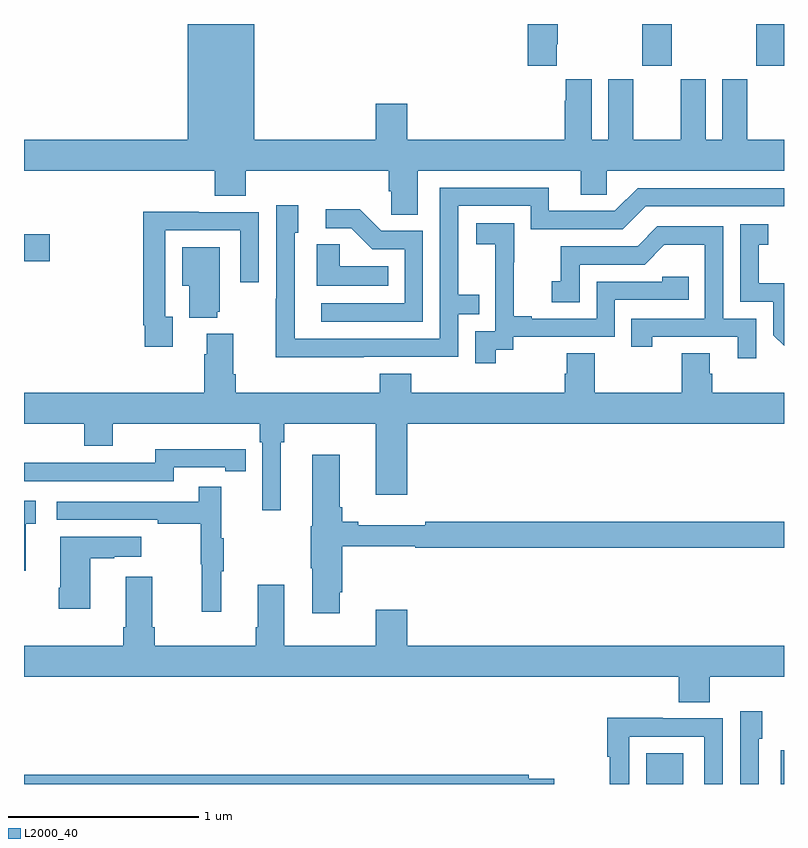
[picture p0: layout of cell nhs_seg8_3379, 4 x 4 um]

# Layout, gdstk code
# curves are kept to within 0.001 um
import gdstk
lib = gdstk.Library(unit=1e-6, precision=1e-09)
def R(c, l, rs):  # rectangles x0, y0, x1, y1
    for r in rs: c.add(gdstk.rectangle(r[:2], r[2:], *l))
def P(c, l, *ps):  # polygons
    for p in ps: c.add(gdstk.Polygon(p, *l))
L2000_40 = (2000, 40)

nhs_seg8_3379 = lib.new_cell('nhs_seg8_3379')
R(nhs_seg8_3379, L2000_40, [(322.274,1151.9,322.471,1152.061), (322.982,1151.9,323,1152.077), (319,1154.651,319.135,1154.793), (322.255,1155.681,322.41,1155.9), (322.855,1155.681,323,1155.9)])
P(nhs_seg8_3379, L2000_40, [(321.805,1155.793),(321.81,1155.793),(321.81,1155.9),(321.65,1155.9),(321.65,1155.681),(321.805,1155.681)],
  [(321.073,1155.128),(321.929,1155.128),(321.929,1155.001),(322.068,1155.001),(322.068,1155.128),(323,1155.128),(323,1155.292),(322.807,1155.292),(322.807,1155.61),(322.676,1155.61),(322.676,1155.292),(322.588,1155.292),(322.588,1155.61),(322.457,1155.61),(322.457,1155.292),(322.207,1155.292),(322.207,1155.61),(322.076,1155.61),(322.076,1155.292),(321.988,1155.292),(321.988,1155.61),(321.851,1155.61),(321.851,1155.497),(321.845,1155.497),(321.845,1155.292),(321.016,1155.292),(321.016,1155.481),(320.852,1155.481),(320.852,1155.292),(320.212,1155.292),(320.212,1155.898),(319.862,1155.898),(319.862,1155.292),(319,1155.292),(319,1155.128),(320.003,1155.128),(320.003,1154.995),(320.168,1154.995),(320.168,1155.128),(320.921,1155.128),(320.921,1155.019),(320.934,1155.019),(320.934,1154.896),(321.073,1154.896)],
  [(320.789,1154.148),(321.285,1154.148),(321.285,1154.373),(321.395,1154.373),(321.395,1154.474),(321.285,1154.474),(321.285,1154.943),(321.666,1154.943),(321.666,1154.82),(322.152,1154.82),(322.272,1154.94),(323,1154.94),(323,1155.036),(322.23,1155.036),(322.11,1154.916),(321.763,1154.916),(321.763,1155.039),(321.189,1155.039),(321.189,1154.244),(320.424,1154.244),(320.424,1154.802),(320.443,1154.802),(320.443,1154.947),(320.328,1154.947),(320.328,1154.453),(320.326,1154.453),(320.326,1154.147)],
  [(321.099,1154.811),(320.88,1154.811),(320.767,1154.924),(320.589,1154.924),(320.589,1154.826),(320.723,1154.826),(320.834,1154.715),(321.003,1154.715),(321.003,1154.43),(320.565,1154.43),(320.565,1154.334),(321.099,1154.334)],
  [(319.783,1154.358),(319.743,1154.358),(319.743,1154.814),(320.139,1154.814),(320.139,1154.541),(320.235,1154.541),(320.235,1154.91),(319.919,1154.91),(319.919,1154.912),(319.627,1154.912),(319.627,1154.314),(319.635,1154.314),(319.635,1154.202),(319.783,1154.202)],
  [(321.484,1154.185),(321.576,1154.185),(321.576,1154.253),(322.11,1154.253),(322.11,1154.448),(322.499,1154.448),(322.499,1154.571),(322.359,1154.571),(322.359,1154.544),(322.014,1154.544),(322.014,1154.349),(321.673,1154.349),(321.673,1154.362),(321.578,1154.362),(321.578,1154.645),(321.579,1154.645),(321.579,1154.851),(321.381,1154.851),(321.381,1154.741),(321.479,1154.741),(321.479,1154.513),(321.48,1154.513),(321.48,1154.283),(321.375,1154.283),(321.375,1154.115),(321.484,1154.115)],
  [(323,1154.535),(322.867,1154.535),(322.867,1154.739),(322.916,1154.739),(322.916,1154.845),(322.77,1154.845),(322.77,1154.439),(322.944,1154.439),(322.944,1154.262),(323,1154.207)],
  [(322.854,1154.349),(322.68,1154.349),(322.68,1154.835),(322.334,1154.835),(322.229,1154.73),(321.826,1154.73),(321.826,1154.545),(321.777,1154.545),(321.777,1154.436),(321.924,1154.436),(321.924,1154.634),(322.266,1154.634),(322.37,1154.738),(322.584,1154.738),(322.584,1154.349),(322.195,1154.349),(322.195,1154.202),(322.306,1154.202),(322.306,1154.253),(322.757,1154.253),(322.757,1154.142),(322.854,1154.142)],
  [(320.918,1154.626),(320.661,1154.626),(320.661,1154.741),(320.54,1154.741),(320.54,1154.522),(320.918,1154.522)],
  [(320.018,1154.385),(320.029,1154.385),(320.029,1154.725),(319.832,1154.725),(319.832,1154.522),(319.871,1154.522),(319.871,1154.354),(320.018,1154.354)],
  [(320.35,1153.7),(320.369,1153.7),(320.369,1153.796),(320.852,1153.796),(320.852,1153.422),(321.016,1153.422),(321.016,1153.796),(323,1153.796),(323,1153.96),(322.622,1153.96),(322.622,1154.058),(322.609,1154.058),(322.609,1154.168),(322.462,1154.168),(322.462,1153.96),(322.005,1153.96),(322.005,1154.168),(321.857,1154.168),(321.857,1154.058),(321.845,1154.058),(321.845,1153.96),(321.038,1153.96),(321.038,1154.059),(320.873,1154.059),(320.873,1153.96),(320.114,1153.96),(320.114,1154.056),(320.101,1154.056),(320.101,1154.269),(319.961,1154.269),(319.961,1154.162),(319.949,1154.162),(319.949,1153.96),(319,1153.96),(319,1153.796),(319.316,1153.796),(319.316,1153.679),(319.468,1153.679),(319.468,1153.796),(320.24,1153.796),(320.24,1153.7),(320.253,1153.7),(320.253,1153.341),(320.35,1153.341)],
  [(319.788,1153.566),(320.06,1153.566),(320.06,1153.546),(320.168,1153.546),(320.168,1153.662),(320.06,1153.662),(320.06,1153.663),(319.692,1153.663),(319.692,1153.59),(319.232,1153.59),(319.232,1153.592),(319,1153.592),(319,1153.494),(319.788,1153.494)],
  [(320.662,1152.91),(320.675,1152.91),(320.675,1153.152),(321.058,1153.152),(321.058,1153.144),(323,1153.144),(323,1153.28),(321.112,1153.28),(321.112,1153.261),(320.758,1153.261),(320.758,1153.28),(320.675,1153.28),(320.675,1153.357),(320.662,1153.357),(320.662,1153.633),(320.516,1153.633),(320.516,1153.257),(320.509,1153.257),(320.509,1153.036),(320.516,1153.036),(320.516,1152.798),(320.662,1152.798)],
  [(320.039,1153.019),(320.05,1153.019),(320.05,1153.193),(320.039,1153.193),(320.039,1153.465),(319.921,1153.465),(319.921,1153.386),(319.173,1153.386),(319.173,1153.29),(319.705,1153.29),(319.705,1153.27),(319.929,1153.27),(319.929,1153.056),(319.936,1153.056),(319.936,1152.807),(320.039,1152.807)],
  [(319.01,1153.269),(319.063,1153.269),(319.063,1153.39),(319,1153.39),(319,1153.023),(319.01,1153.023)],
  [(319.348,1153.087),(319.475,1153.087),(319.475,1153.097),(319.618,1153.097),(319.618,1153.201),(319.19,1153.201),(319.19,1152.934),(319.183,1152.934),(319.183,1152.822),(319.348,1152.822)],
  [(322.61,1152.464),(323,1152.464),(323,1152.628),(321.016,1152.628),(321.016,1152.817),(320.852,1152.817),(320.852,1152.628),(320.371,1152.628),(320.371,1152.949),(320.231,1152.949),(320.231,1152.724),(320.219,1152.724),(320.219,1152.628),(319.688,1152.628),(319.688,1152.724),(319.675,1152.724),(319.675,1152.991),(319.535,1152.991),(319.535,1152.724),(319.523,1152.724),(319.523,1152.628),(319,1152.628),(319,1152.464),(322.445,1152.464),(322.445,1152.331),(322.61,1152.331)],
  [(322.866,1152.138),(322.885,1152.138),(322.885,1152.283),(322.77,1152.283),(322.77,1151.9),(322.866,1151.9)],
  [(322.185,1152.15),(322.581,1152.15),(322.581,1151.9),(322.677,1151.9),(322.677,1152.246),(322.361,1152.246),(322.361,1152.248),(322.069,1152.248),(322.069,1152.043),(322.084,1152.043),(322.084,1151.9),(322.185,1151.9)],
  [(321.79,1151.928),(321.656,1151.928),(321.656,1151.948),(319,1151.948),(319,1151.9),(321.79,1151.9)])

lib.write_gds('nhs_seg8_3379.gds')
